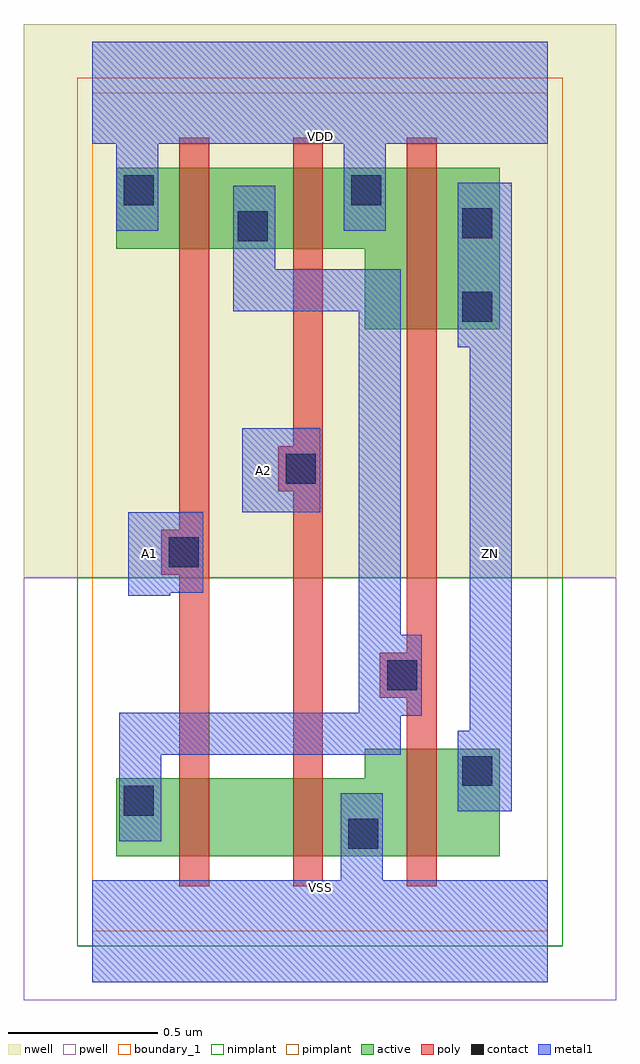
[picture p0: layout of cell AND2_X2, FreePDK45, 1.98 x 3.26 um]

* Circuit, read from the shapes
.subckt AND2_X2 A1 A2 VDD VSS ZN
M1 n1 A1 n2 VSUBS nfet w=0.26u l=0.1u
M2 VSS A2 n1 VSUBS nfet w=0.26u l=0.1u
M3 ZN n2 VSS VSUBS nfet w=0.36u l=0.1u
M4 n2 A1 VDD n3 pfet w=0.27u l=0.1u
M5 VDD A2 n2 n3 pfet w=0.27u l=0.1u
M6 ZN n2 VDD n3 pfet w=0.54u l=0.1u
.ends

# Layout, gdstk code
import gdstk
lib = gdstk.Library(unit=1e-6, precision=1e-09)
def R(c, l, rs):  # rectangles x0, y0, x1, y1
    for r in rs: c.add(gdstk.rectangle(r[:2], r[2:], *l))
def P(c, l, *ps):  # polygons
    for p in ps: c.add(gdstk.Polygon(p, *l))
active = (1, 0)
pwell = (2, 0)
nwell = (3, 0)
nimplant = (4, 0)
pimplant = (5, 0)
poly = (9, 0)
contact = (10, 0)
metal1 = (11, 0)
boundary_1 = (235, 1)

and2_x2 = lib.new_cell('AND2_X2')
P(and2_x2, active, [(0.08,2.28),(0.91,2.28),(0.91,2.01),(1.36,2.01),(1.36,2.55),(0.08,2.55)],
  [(0.08,0.25),(1.36,0.25),(1.36,0.61),(0.91,0.61),(0.91,0.51),(0.08,0.51)])
R(and2_x2, pwell, [(-0.23,-0.23,1.75,1.18)])
R(and2_x2, nwell, [(-0.23,1.18,1.75,3.03)])
R(and2_x2, nimplant, [(-0.05,-0.05,1.57,1.18)])
R(and2_x2, pimplant, [(-0.05,1.18,1.57,2.85)])
P(and2_x2, poly, [(0.96,0.78),(1.05,0.78),(1.05,0.15),(1.15,0.15),(1.15,2.65),(1.05,2.65),(1.05,0.93),(0.96,0.93)],
  [(0.62,1.47),(0.67,1.47),(0.67,0.15),(0.77,0.15),(0.77,2.65),(0.67,2.65),(0.67,1.62),(0.62,1.62)],
  [(0.23,1.19),(0.29,1.19),(0.29,0.15),(0.39,0.15),(0.39,2.65),(0.29,2.65),(0.29,1.34),(0.23,1.34)])
R(and2_x2, contact, [(0.855,0.275,0.955,0.375), (0.105,0.385,0.205,0.485), (1.235,0.485,1.335,0.585), (0.985,0.805,1.085,0.905), (0.255,1.215,0.355,1.315), (0.645,1.495,0.745,1.595), (1.235,2.035,1.335,2.135), (0.485,2.305,0.585,2.405), (1.235,2.315,1.335,2.415), (0.105,2.425,0.205,2.525), (0.865,2.425,0.965,2.525)])
R(and2_x2, metal1, [(0.5,1.4,0.76,1.68), (0.5,1.4,0.76,1.68)])
P(and2_x2, metal1, [(1.22,1.95),(1.26,1.95),(1.26,0.67),(1.22,0.67),(1.22,0.4),(1.4,0.4),(1.4,2.5),(1.22,2.5)],
  [(0,-0.17),(1.52,-0.17),(1.52,0.17),(0.97,0.17),(0.97,0.46),(0.83,0.46),(0.83,0.17),(0,0.17)],
  [(0.12,1.12),(0.26,1.12),(0.26,1.13),(0.37,1.13),(0.37,1.4),(0.12,1.4)],
  [(0,2.63),(0.08,2.63),(0.08,2.34),(0.22,2.34),(0.22,2.63),(0.84,2.63),(0.84,2.34),(0.98,2.34),(0.98,2.63),(1.52,2.63),(1.52,2.97),(0,2.97)],
  [(0,2.63),(0.08,2.63),(0.08,2.34),(0.22,2.34),(0.22,2.63),(0.84,2.63),(0.84,2.34),(0.98,2.34),(0.98,2.63),(1.52,2.63),(1.52,2.97),(0,2.97)],
  [(0,-0.17),(1.52,-0.17),(1.52,0.17),(0.97,0.17),(0.97,0.46),(0.83,0.46),(0.83,0.17),(0,0.17)],
  [(1.22,1.95),(1.26,1.95),(1.26,0.67),(1.22,0.67),(1.22,0.4),(1.4,0.4),(1.4,2.5),(1.22,2.5)],
  [(0.47,2.07),(0.89,2.07),(0.89,0.73),(0.09,0.73),(0.09,0.3),(0.23,0.3),(0.23,0.59),(1.03,0.59),(1.03,0.72),(1.1,0.72),(1.1,0.99),(1.03,0.99),(1.03,2.21),(0.61,2.21),(0.61,2.49),(0.47,2.49)],
  [(0.12,1.12),(0.26,1.12),(0.26,1.13),(0.37,1.13),(0.37,1.4),(0.12,1.4)])
R(and2_x2, boundary_1, [(0,0,1.52,2.8)])
and2_x2.add(gdstk.Label('ZN', (1.33,1.26), layer=11, texttype=0))
and2_x2.add(gdstk.Label('VSS', (0.76,0.145), layer=11, texttype=0))
and2_x2.add(gdstk.Label('VDD', (0.76,2.655), layer=11, texttype=0))
and2_x2.add(gdstk.Label('A2', (0.57,1.54), layer=11, texttype=0))
and2_x2.add(gdstk.Label('A1', (0.19,1.26), layer=11, texttype=0))

lib.write_gds('AND2_X2.gds')
